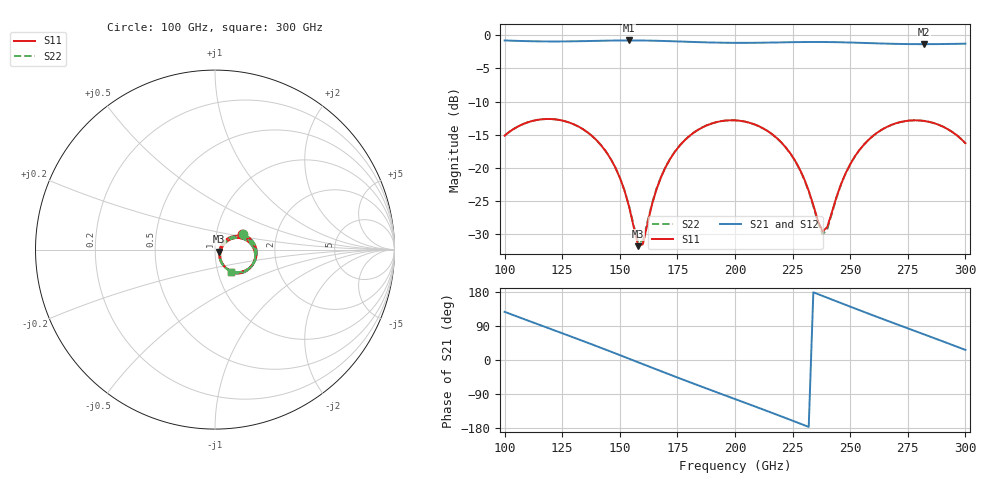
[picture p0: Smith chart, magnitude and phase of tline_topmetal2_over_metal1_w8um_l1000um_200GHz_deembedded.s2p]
! Created with skrf 2.2.0 (http://scikit-rf.org).
# GHz S DB R 50.0
! Port[1] = P1
! Port[2] = P2
!freq dBS11 angS11 dBS21 angS21 dBS12 angS12 dBS22 angS22
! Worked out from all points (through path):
!   101 points, 100 GHz to 300 GHz, reference 50 ohm
!   highest |S21| = -0.81 dB at 154 GHz (marker M1); lowest = -1.4 dB at 282 GHz (marker M2)
!   group delay of S21, straight-line fit = 6.41 ps
!   lowest |S11| = -31.8 dB at 158 GHz (marker M3), VSWR 1.05, Z = 52.3 - j1.24 ohm
!   |S11| at or under -10 dB: start of sweep to end of sweep
!   |S22| runs from -31.3 to -12.6 dB; largest |S21 - S12| = 1e-13
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100  -15.13 29.0  -0.82 127.1  -0.82 127.1  -15.13 28.9
116  -12.68 -2.8  -0.95 90.9  -0.95 90.9  -12.68 -2.8
134  -14.16 -38.8  -0.92 50.1  -0.92 50.1  -14.16 -38.7
146  -18.61 -60.0  -0.84 22.3  -0.84 22.3  -18.60 -59.5
154  -25.78 -61.4  -0.81 3.4  -0.81 3.4  -25.67 -60.0
158  -31.76 -27.2  -0.82 -6.1  -0.82 -6.1  -31.25 -25.9
160  -31.47 9.9  -0.83 -10.8  -0.83 -10.8  -30.95 8.7
168  -21.28 42.4  -0.88 -29.8  -0.88 -29.8  -21.21 41.0
174  -17.51 35.1  -0.95 -43.8  -0.95 -43.8  -17.48 34.1
184  -14.25 17.2  -1.06 -66.9  -1.06 -66.9  -14.24 16.3
200  -12.83 -14.0  -1.17 -103.0  -1.17 -103.0  -12.83 -14.8
210  -13.66 -33.3  -1.16 -125.6  -1.16 -125.6  -13.66 -34.1
220  -16.11 -51.3  -1.10 -148.6  -1.10 -148.6  -16.13 -52.2
228  -20.11 -61.2  -1.06 -167.2  -1.06 -167.2  -20.16 -62.4
234  -25.59 -54.9  -1.04 178.6  -1.04 178.6  -25.76 -56.6
238  -29.54 -20.3  -1.05 169.2  -1.05 169.2  -29.97 -20.9
240  -28.91 5.7  -1.05 164.4  -1.05 164.4  -29.26 6.6
246  -22.44 33.7  -1.09 150.2  -1.09 150.2  -22.51 34.5
252  -18.27 30.9  -1.14 136.2  -1.14 136.2  -18.29 31.2
268  -13.50 4.0  -1.31 99.3  -1.31 99.3  -13.51 4.1
282  -12.92 -22.7  -1.37 67.7  -1.37 67.7  -12.92 -22.7
300  -16.27 -54.9  -1.30 26.6  -1.30 26.6  -16.26 -54.8
